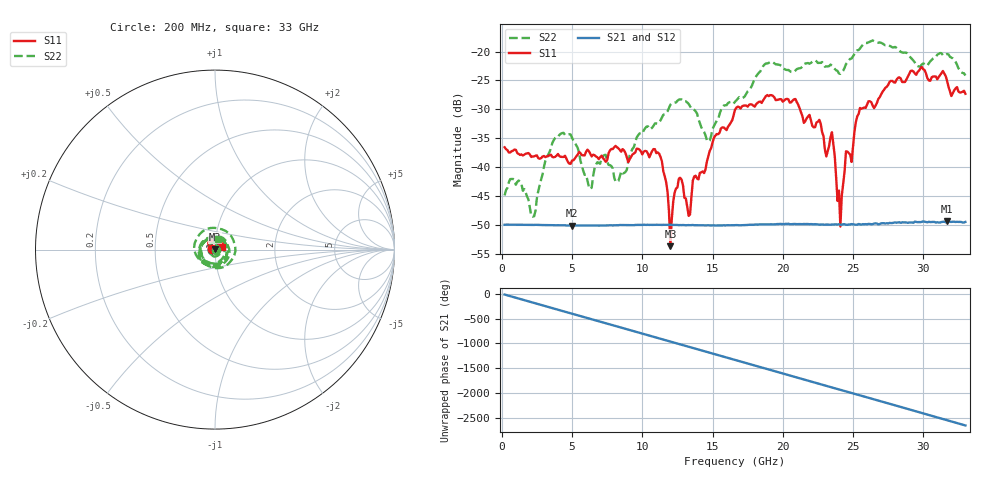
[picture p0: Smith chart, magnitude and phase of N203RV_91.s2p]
# GHZ S RI R 50
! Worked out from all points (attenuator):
!   329 points, 200 MHz to 33 GHz, reference 50 ohm
!   highest |S21| = -49.38 dB at 31.7 GHz (marker M1); lowest = -50.1 dB at 5 GHz (marker M2)
!   lowest |S11| = -53.7 dB at 12 GHz (marker M3), VSWR 1.00, Z = 49.9 + j0.152 ohm
!   |S11| at or under -10 dB: start of sweep to end of sweep
!   |S22| runs from -48.6 to -18.1 dB; largest |S21 - S12| = 7.2e-05
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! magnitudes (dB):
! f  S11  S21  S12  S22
! 200 MHz  -36.6  -50.0  -49.9  -44.9
! 2.3 GHz  -38.1  -50.0  -50.0  -48.5
! 3.6 GHz  -38.2  -50.0  -50.0  -35.8
! 5 GHz  -38.9  -50.1  -50.1  -34.9
! 5.7 GHz  -37.9  -50.1  -50.1  -39.8
! 8.2 GHz  -36.6  -50.1  -50.0  -42.5
! 11.2 GHz  -37.7  -50.0  -50.0  -32.2
! 11.8 GHz  -44.3  -50.0  -49.9  -30.3
! 12 GHz  -53.7  -50.0  -50.0  -29.2
! 12.6 GHz  -42.0  -50.0  -50.0  -28.3
! 13.4 GHz  -48.2  -50.1  -50.0  -29.5
! 14.7 GHz  -38.1  -50.1  -50.1  -35.6
! 16.6 GHz  -30.1  -50.0  -50.0  -28.7
! 22.1 GHz  -32.8  -49.9  -49.8  -21.8
! 23.5 GHz  -34.0  -49.9  -49.9  -22.5
! 24.1 GHz  -50.3  -50.0  -49.9  -23.9
! 24.5 GHz  -37.3  -50.0  -49.9  -22.2
! 24.9 GHz  -39.1  -49.9  -49.9  -21.2
! 25.5 GHz  -29.8  -49.9  -49.9  -19.5
! 27.6 GHz  -25.3  -49.6  -49.7  -19.0
! 31.7 GHz  -25.1  -49.4  -49.5  -20.4
! 33 GHz  -27.3  -49.5  -49.5  -24.2
